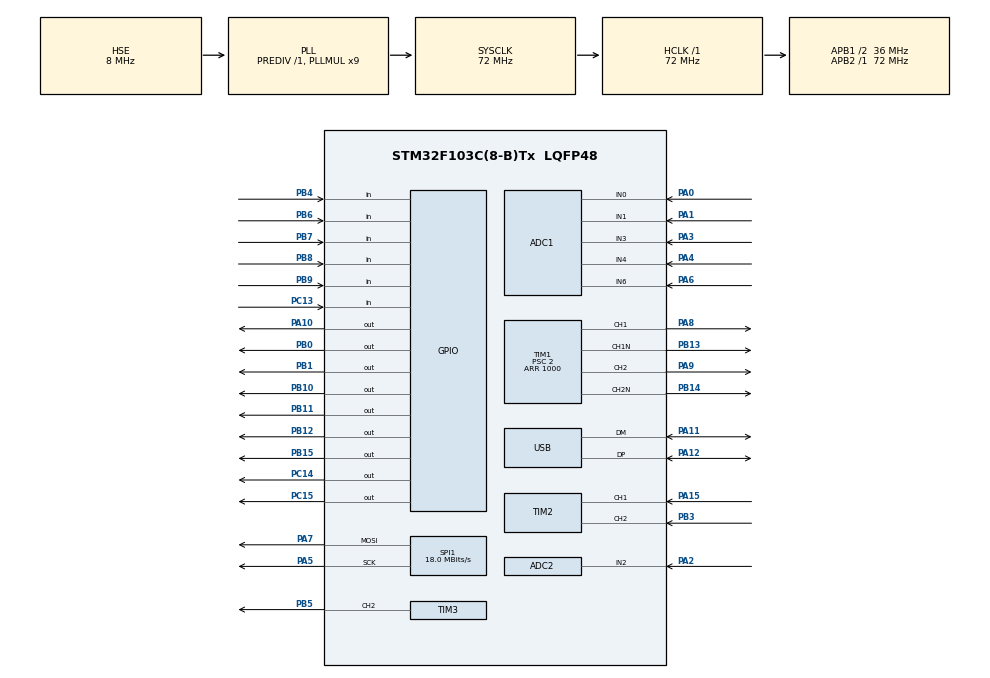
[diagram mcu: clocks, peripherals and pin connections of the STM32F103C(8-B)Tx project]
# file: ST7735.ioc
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ADC1.Channel-0\#ChannelRegularConversion=ADC_CHANNEL_0
ADC1.Channel-1\#ChannelRegularConversion=ADC_CHANNEL_1
ADC1.Channel-2\#ChannelRegularConversion=ADC_CHANNEL_3
ADC1.Channel-3\#ChannelRegularConversion=ADC_CHANNEL_4
ADC1.ContinuousConvMode=ENABLE
ADC1.ExternalTrigConv=ADC_SOFTWARE_START
ADC1.NbrOfConversion=4
ADC1.NbrOfConversionFlag=1
ADC1.Rank-0\#ChannelRegularConversion=1
ADC1.Rank-1\#ChannelRegularConversion=2
ADC1.Rank-2\#ChannelRegularConversion=3
ADC1.Rank-3\#ChannelRegularConversion=4
ADC1.SamplingTime-0\#ChannelRegularConversion=ADC_SAMPLETIME_71CYCLES_5
ADC1.SamplingTime-1\#ChannelRegularConversion=ADC_SAMPLETIME_71CYCLES_5
ADC1.SamplingTime-2\#ChannelRegularConversion=ADC_SAMPLETIME_71CYCLES_5
ADC1.SamplingTime-3\#ChannelRegularConversion=ADC_SAMPLETIME_71CYCLES_5
ADC1.master=1
ADC2.Channel-0\#ChannelRegularConversion=ADC_CHANNEL_2
ADC2.ContinuousConvMode=DISABLE
ADC2.ExternalTrigConv=ADC_SOFTWARE_START
ADC2.NbrOfConversion=1
ADC2.NbrOfConversionFlag=1
ADC2.Rank-0\#ChannelRegularConversion=1
ADC2.SamplingTime-0\#ChannelRegularConversion=ADC_SAMPLETIME_239CYCLES_5
Dma.ADC1.1.Direction=DMA_PERIPH_TO_MEMORY
Dma.ADC1.1.Instance=DMA1_Channel1
Dma.ADC1.1.MemDataAlignment=DMA_MDATAALIGN_HALFWORD
Dma.ADC1.1.MemInc=DMA_MINC_ENABLE
Dma.ADC1.1.Mode=DMA_CIRCULAR
Dma.ADC1.1.PeriphDataAlignment=DMA_PDATAALIGN_HALFWORD
Dma.ADC1.1.PeriphInc=DMA_PINC_DISABLE
Dma.ADC1.1.Priority=DMA_PRIORITY_LOW
Dma.Request0=SPI1_TX
Dma.Request1=ADC1
Dma.SPI1_TX.0.Direction=DMA_MEMORY_TO_PERIPH
Dma.SPI1_TX.0.Instance=DMA1_Channel3
Dma.SPI1_TX.0.MemDataAlignment=DMA_MDATAALIGN_HALFWORD
Dma.SPI1_TX.0.MemInc=DMA_MINC_ENABLE
Dma.SPI1_TX.0.Mode=DMA_NORMAL
Dma.SPI1_TX.0.PeriphDataAlignment=DMA_PDATAALIGN_HALFWORD
Dma.SPI1_TX.0.PeriphInc=DMA_PINC_DISABLE
Dma.SPI1_TX.0.Priority=DMA_PRIORITY_LOW
Mcu.Family=STM32F1
Mcu.Name=STM32F103C(8-B)Tx
Mcu.Package=LQFP48
NVIC.ADC1_2_IRQn=true\:0\:0\:false\:false\:true\:true\:true\:true
NVIC.DMA1_Channel1_IRQn=true\:0\:0\:false\:false\:true\:false\:true\:true
NVIC.DMA1_Channel3_IRQn=true\:0\:0\:false\:false\:true\:false\:true\:true
NVIC.PriorityGroup=NVIC_PRIORITYGROUP_4
NVIC.TIM3_IRQn=true\:0\:0\:false\:false\:true\:true\:true\:true
NVIC.TIM4_IRQn=true\:0\:0\:false\:false\:true\:true\:true\:true
NVIC.USB_LP_CAN1_RX0_IRQn=true\:0\:0\:false\:false\:true\:false\:true\:true
PA0-WKUP.Signal=ADCx_IN0
PA1.Signal=ADCx_IN1
PA10.Signal=GPIO_Output
PA11.Mode=Device
PA11.Signal=USB_DM
PA12.Mode=Device
PA12.Signal=USB_DP
PA13.Mode=Serial_Wire
PA13.Signal=SYS_JTMS-SWDIO
PA14.Mode=Serial_Wire
PA14.Signal=SYS_JTCK-SWCLK
PA15.Signal=S_TIM2_CH1_ETR
PA2.Signal=ADCx_IN2
PA3.Signal=ADCx_IN3
PA4.Signal=ADCx_IN4
PA5.Mode=TX_Only_Simplex_Unidirect_Master
PA5.Signal=SPI1_SCK
PA6.Signal=ADCx_IN6
PA7.Mode=TX_Only_Simplex_Unidirect_Master
PA7.Signal=SPI1_MOSI
PA8.Signal=S_TIM1_CH1
PA9.Signal=S_TIM1_CH2
PB0.Signal=GPIO_Output
PB1.Signal=GPIO_Output
PB10.Signal=GPIO_Output
PB11.Signal=GPIO_Output
PB12.Signal=GPIO_Output
PB13.Mode=PWM Generation1 CH1 CH1N
PB13.Signal=TIM1_CH1N
PB14.Mode=PWM Generation2 CH2 CH2N
PB14.Signal=TIM1_CH2N
PB15.Signal=GPIO_Output
PB3.Signal=S_TIM2_CH2
PB4.GPIO_PuPd=GPIO_PULLUP
PB4.Signal=GPIO_Input
PB5.Signal=S_TIM3_CH2
PB6.GPIO_PuPd=GPIO_PULLUP
PB6.Signal=GPIO_Input
PB7.GPIO_PuPd=GPIO_PULLUP
PB7.Signal=GPIO_Input
PB8.GPIO_PuPd=GPIO_PULLUP
PB8.Signal=GPIO_Input
PB9.GPIO_PuPd=GPIO_PULLUP
PB9.Signal=GPIO_Input
PC13-TAMPER-RTC.Signal=GPIO_Input
PC14-OSC32_IN.Signal=GPIO_Output
PC15-OSC32_OUT.Signal=GPIO_Output
PD0-OSC_IN.Mode=HSE-External-Oscillator
PD0-OSC_IN.Signal=RCC_OSC_IN
PD1-OSC_OUT.Mode=HSE-External-Oscillator
PD1-OSC_OUT.Signal=RCC_OSC_OUT
ProjectManager.HeapSize=0x200
ProjectManager.StackSize=0x400
ProjectManager.TargetToolchain=MDK-ARM V5.32
RCC.ADCPresc=RCC_ADCPCLK2_DIV6
RCC.AHBFreq_Value=72000000
RCC.APB1CLKDivider=RCC_HCLK_DIV2
RCC.APB1Freq_Value=36000000
RCC.APB1TimFreq_Value=72000000
RCC.APB2Freq_Value=72000000
RCC.APB2TimFreq_Value=72000000
RCC.HCLKFreq_Value=72000000
RCC.PLLMUL=RCC_PLL_MUL9
RCC.PLLSourceVirtual=RCC_PLLSOURCE_HSE
RCC.SYSCLKFreq_VALUE=72000000
RCC.SYSCLKSource=RCC_SYSCLKSOURCE_PLLCLK
RCC.USBFreq_Value=48000000
RCC.USBPrescaler=RCC_USBCLKSOURCE_PLL_DIV1_5
SH.ADCx_IN0.0=ADC1_IN0,IN0
SH.ADCx_IN1.0=ADC1_IN1,IN1
SH.ADCx_IN2.0=ADC2_IN2,IN2
SH.ADCx_IN3.0=ADC1_IN3,IN3
SH.ADCx_IN4.0=ADC1_IN4,IN4
SH.ADCx_IN6.0=ADC1_IN6,IN6
SH.S_TIM1_CH1.0=TIM1_CH1,PWM Generation1 CH1 CH1N
SH.S_TIM1_CH2.0=TIM1_CH2,PWM Generation2 CH2 CH2N
SH.S_TIM2_CH1_ETR.0=TIM2_CH1,Encoder_Interface
SH.S_TIM2_CH2.0=TIM2_CH2,Encoder_Interface
SH.S_TIM3_CH2.0=TIM3_CH2,PWM Generation2 CH2
SPI1.BaudRatePrescaler=SPI_BAUDRATEPRESCALER_4
SPI1.CalculateBaudRate=18.0 MBits/s
SPI1.DataSize=SPI_DATASIZE_8BIT
SPI1.Direction=SPI_DIRECTION_2LINES
SPI1.Mode=SPI_MODE_MASTER
SPI1.VirtualType=VM_MASTER
TIM1.Channel-PWM\ Generation1\ CH1\ CH1N=TIM_CHANNEL_1
TIM1.Channel-PWM\ Generation2\ CH2\ CH2N=TIM_CHANNEL_2
TIM1.DeadTime=50
TIM1.OCNPolarity_2=TIM_OCNPOLARITY_LOW
TIM1.OCPolarity_2=TIM_OCPOLARITY_LOW
TIM1.Period=1000
TIM1.Prescaler=2
TIM1.TIM_MasterOutputTrigger=TIM_TRGO_OC3REF
TIM2.EncoderMode=TIM_ENCODERMODE_TI12
TIM3.AutoReloadPreload=TIM_AUTORELOAD_PRELOAD_ENABLE
TIM3.Channel-PWM\ Generation2\ CH2=TIM_CHANNEL_2
TIM3.OCPolarity_2=TIM_OCPOLARITY_LOW
TIM3.Period=1000
TIM3.Prescaler=10
TIM3.TIM_MasterOutputTrigger=TIM_TRGO_UPDATE
TIM4.Channel-PWM\ Generation4\ No\ Output=TIM_CHANNEL_4
TIM4.Period=1000
TIM4.Prescaler=10
TIM4.TIM_MasterOutputTrigger=TIM_TRGO_OC4REF
USB_DEVICE.APP_RX_DATA_SIZE=64
USB_DEVICE.APP_TX_DATA_SIZE=64
USB_DEVICE.CLASS_NAME_FS=CDC
USB_DEVICE.MANUFACTURER_STRING=Dung_Device
USB_DEVICE.VirtualMode=Cdc
USB_DEVICE.VirtualModeFS=Cdc_FS
VP_TIM1_VS_ClockSourceINT.Mode=Internal
VP_TIM3_VS_ClockSourceINT.Mode=Internal
VP_TIM4_VS_no_output4.Mode=PWM Generation4 No Output
VP_USB_DEVICE_VS_USB_DEVICE_CDC_FS.Mode=CDC_FS
board=custom

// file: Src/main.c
/* USER CODE BEGIN Header */
/**
  ******************************************************************************
  * @file           : main.c
  * @brief          : Main program body
  ******************************************************************************
  * @attention
  *
  * <h2><center>&copy; Copyright (c) 2020 STMicroelectronics.
  * All rights reserved.</center></h2>
  *
  * This software component is licensed by ST under BSD 3-Clause license,
  * the "License"; You may not use this file except in compliance with the
  * License. You may obtain a copy of the License at:
  *                        opensource.org/licenses/BSD-3-Clause
  *
  ******************************************************************************
  */
/* USER CODE END Header */
#include "main.h"
#include "usb_device.h"

/* USER CODE BEGIN Includes */
#include <string.h>
#include "ST7735_SPI.h"
#include "fonts.h"
#include <stdio.h>
#include <math.h>
#include "UI.h"
#include "UI_Solider.h"
/* USER CODE END Includes */

ADC_HandleTypeDef hadc1;
ADC_HandleTypeDef hadc2;
DMA_HandleTypeDef hdma_adc1;

SPI_HandleTypeDef hspi1;
DMA_HandleTypeDef hdma_spi1_tx;

TIM_HandleTypeDef htim1;
TIM_HandleTypeDef htim2;
TIM_HandleTypeDef htim3;
TIM_HandleTypeDef htim4;

void SystemClock_Config(void);
static void MX_GPIO_Init(void);
static void MX_DMA_Init(void);
static void MX_SPI1_Init(void);
static void MX_ADC1_Init(void);
static void MX_ADC2_Init(void);
static void MX_TIM1_Init(void);
static void MX_TIM2_Init(void);
static void MX_TIM3_Init(void);
static void MX_TIM4_Init(void);

/* USER CODE BEGIN 0 */
#define ADC_MAX             4095.0f
#define VREF                3.3f

#define VIN_DIV_GAIN        11.0f
#define VOUT_DIV_GAIN       11.0f

#define NTC_R_PULLUP        10000.0f
#define NTC_R0              50000.0f
#define NTC_BETA            3950.0f
#define NTC_T0_K            298.15f

#define SET_V_MIN           2.0f
#define SET_V_MAX           36.0f
#define SET_V_STEP          0.1f

#define ENC_COUNT_PER_STEP  4

#define POWERSTAGE_DUTY_MIN       0.1f
#define POWERSTAGE_DUTY_MAX       0.9f
#define POWERSTAGE_RATIO_MIN    0.1f
#define POWERSTAGE_RATIO_MAX    0.9f

#define CURRENT_MAX 	10.0f		// AMPE
#define TEMP_MAX 			80.0f   //*C
#define VSET_MIN            1.0f
#define VSET_MAX            30.0f
#define VSET_STEP           0.1f

#define ISET_MIN            0.1f
#define ISET_MAX            10.0f
#define ISET_STEP           0.1f

#define CTRL_TS              0.001f

#define VIN_MIN_PROTECT      2.0f
#define TEMP_MAX_PROTECT     80.0f

#define RATIO_MIN            POWERSTAGE_DUTY_MIN
#define RATIO_MAX            POWERSTAGE_DUTY_MAX

#define CV_KP                0.015f
#define CV_KI                0.8f

#define CC_KP                0.025f
#define CC_KI                1.2f

#define CV_I_MIN            -0.30f
#define CV_I_MAX             0.30f

#define CC_I_MIN            -0.30f
#define CC_I_MAX             0.30f

#define SOFTSTART_RATE_VS    6.0f
#define I_HARD_MARGIN        1.0f

#define I_HARD_LIMIT_A              8.5f
#define POWER_START_BLANK_MS        200U

/* Input-voltage droop limiter. Vin may be 12 V, 15 V, 20 V, etc. */
#define VIN_FILTER_ALPHA            0.20f
#define VIN_REF_UPDATE_ALPHA        0.05f
#define VIN_DROOP_ENTER_RATIO       0.90f
#define VIN_DROOP_EXIT_RATIO        0.93f
#define VIN_LIMIT_DOWN_RATE_AS      100.0f
#define VIN_LIMIT_UP_RATE_AS        5.0f
#define VIN_LIMIT_MIN_CURRENT       0.20f
#define VIN_REF_LIGHT_CURRENT       0.30f

static float vin_filtered = 0.0f;
static float vin_reference = 0.0f;
static float input_limited_iset = 0.0f;
static uint8_t vin_filter_init = 0U;
static uint8_t input_limit_active = 0U;

static uint8_t power_prev_enable = 0;
static uint32_t power_start_tick = 0;
static float solider_current_hold = 0.0f;
static float cv_i = 0.0f;
static float cc_i = 0.0f;
extern UI_MainField_t main_field;
static float vref_soft = 0.0f;
static float ratio_out = 0.5f;
typedef enum
{
    PS_MODE_CV = 0,
    PS_MODE_CC,
    PS_MODE_CVCC
} PowerMode_t;

typedef enum
{
    UI_FIELD_VSET = 0,
    UI_FIELD_ISET,
    UI_FIELD_MODE,
    UI_FIELD_OUT,
    UI_FIELD_COUNT
} UI_Field_t;

typedef struct
{
    float kp;
    float ki;

    float integral;

    float out_min;
    float out_max;

    float output;
} PI_Controller_t;

PI_Controller_t cv_pi =
{
    .kp = CV_KP,
    .ki = CV_KI,

    .integral = 0.0f,

    .out_min = POWERSTAGE_RATIO_MIN,
    .out_max = POWERSTAGE_RATIO_MAX,

    .output = 0.5f       // b?t d?u t?i Vin = Vout
};
BBUI_Data_t PowerStage =
{
    .vin = 0.0f,
    .vout = 0.0f,
    .current = 0.0f,
    .temp = 0.0f,

    .vset = 12.0f,
    .iset = 2.0f,

    .enable = 0,
    .state = BBUI_STATE_OFF,

    .batt_cells = 3,
    .active_preset = 0,
    .mqtt_enable = 0,
		.max_input_power = 200.0f,
    .start_mode = BB_START_SOFT,
    .preset =
    {
        {12.0f, 5.0f},
        {16.8f, 3.0f},
        {20.0f, 2.5f}
    }
};

static UI_Field_t ui_field = UI_FIELD_VSET;
static volatile uint8_t ui_full_redraw = 1;
static volatile uint8_t ui_need_update = 1;

static volatile uint16_t adc_current_raw = 0;
volatile uint8_t adc_current_ready = 0;

static int16_t enc_last = 0;
static int32_t enc_acc = 0;

static uint32_t t_adc = 0;
static uint32_t t_lcd = 0;
static uint8_t PowerStage_pwm_running = 0;
#define ADC1_DMA_LEN 4

uint16_t adc1_dma_buf[ADC1_DMA_LEN];
uint8_t adc1_dma_ready = 0;
static uint16_t timeIntervalReadSolider = 0;
int loopReadSolider_temp = 10;
static uint16_t solider_temp_sum = 0;
static void fmt_float(char *buf, float value, uint8_t dec, const char *unit)
{
    int32_t scale = 1;

    for(uint8_t i = 0; i < dec; i++)
        scale *= 10;

    int32_t v = (int32_t)(value * scale + (value >= 0 ? 0.5f : -0.5f));

    if(v < 0)
    {
        v = -v;
        if(dec == 1)
            sprintf(buf, "-%ld.%01ld%s", v / scale, v % scale, unit);
        else
            sprintf(buf, "-%ld.%02ld%s", v / scale, v % scale, unit);
    }
    else
    {
        if(dec == 1)
            sprintf(buf, "%ld.%01ld%s", v / scale, v % scale, unit);
        else
            sprintf(buf, "%ld.%02ld%s", v / scale, v % scale, unit);
    }
}
static uint16_t ADC_Read_Channel(ADC_HandleTypeDef *hadc, uint32_t channel)
{
    ADC_ChannelConfTypeDef sConfig = {0};

    sConfig.Channel = channel;
    sConfig.Rank = ADC_REGULAR_RANK_1;
    sConfig.SamplingTime = ADC_SAMPLETIME_239CYCLES_5;

    HAL_ADC_ConfigChannel(hadc, &sConfig);

    HAL_ADC_Start(hadc);
    HAL_ADC_PollForConversion(hadc, 10);
		uint32_t adc_value = 0;
		adc_value = HAL_ADC_GetValue(hadc);
    HAL_ADC_Stop(hadc);

    return (uint16_t)adc_value;
}

static float ADC_To_Voltage(uint16_t adc)
{
    return ((float)adc * VREF) / ADC_MAX;
}

static float Read_Vout(uint16_t adc_vout)
{
    return ADC_To_Voltage(adc_vout) * VOUT_DIV_GAIN;
}

static float Read_Vin(uint16_t adc_vin)
{
    return ADC_To_Voltage(adc_vin) * VIN_DIV_GAIN;
}
static void PowerStage_UpdateIdleVinReference(void)
{
    /* Learn source no-load voltage only while the converter is disabled. */
    if((PowerStage.enable == 0U) &&
       (PowerStage.vin > VIN_MIN_PROTECT))
    {
        if(vin_reference < VIN_MIN_PROTECT)
        {
            vin_reference = PowerStage.vin;
        }
        else
        {
            vin_reference += VIN_REF_UPDATE_ALPHA *
                             (PowerStage.vin - vin_reference);
        }
    }
}

static void PowerStage_InputDroopRuntimeReset(void)
{
    /* Keep vin_reference: it was learned while output was OFF. */
    vin_filtered = PowerStage.vin;
    input_limited_iset = PowerStage.iset;
    vin_filter_init = 1U;
    input_limit_active = 0U;
}

static float PowerStage_GetInputDroopCurrentLimit(void)
{
    if(vin_filter_init == 0U)
    {
        PowerStage_InputDroopRuntimeReset();
    }

    vin_filtered += VIN_FILTER_ALPHA *
                    (PowerStage.vin - vin_filtered);

    /* Fallback if output was enabled before a valid idle reference existed. */
    if(vin_reference < VIN_MIN_PROTECT)
    {
        vin_reference = PowerStage.vin;
    }

    float vin_enter = vin_reference * VIN_DROOP_ENTER_RATIO;
    float vin_exit  = vin_reference * VIN_DROOP_EXIT_RATIO;

    if(input_limit_active == 0U)
    {
        if(vin_filtered <= vin_enter)
        {
            input_limit_active = 1U;
        }
    }
    else
    {
        if(vin_filtered >= vin_exit)
        {
            input_limit_active = 0U;
        }
    }

    if(input_limited_iset > PowerStage.iset)
    {
        input_limited_iset = PowerStage.iset;
    }

    if(input_limit_active != 0U)
    {
        input_limited_iset -= VIN_LIMIT_DOWN_RATE_AS * CTRL_TS;
    }
    else
    {
        input_limited_iset += VIN_LIMIT_UP_RATE_AS * CTRL_TS;
    }

    if(input_limited_iset < VIN_LIMIT_MIN_CURRENT)
        input_limited_iset = VIN_LIMIT_MIN_CURRENT;

    if(input_limited_iset > PowerStage.iset)
        input_limited_iset = PowerStage.iset;

    return input_limited_iset;
}
uint16_t raw = 0;
static float Read_NTC_Temp(void)
{
    raw = ADC_Read_Channel(&hadc2, ADC_CHANNEL_2);

    float v = raw * 3.3f / 4095.0f;

    if(v < 0.01f) v = 0.01f;
    if(v > 3.29f) v = 3.29f;

    float r_ntc = 10000.0f * v / (3.3f - v);

    float temp_k = 1.0f /
    (
        (1.0f / 298.15f) +
        (logf(r_ntc / 10000.0f) / 3950.0f)
    );
		return 20.4f;
    return temp_k - 273.15f;
}
#define CURRENT_GAIN        200.0f // 1.884
#define SHUNT_R             0.002f
uint16_t adc_offset = 0;
static float Read_Current(uint16_t adc_current)
{
    float v_adc = (adc_current) * 3.3f / 4095.0f;
    float current = (v_adc) / CURRENT_GAIN / SHUNT_R;
    if(current < 0.0f)
        current = 0.0f;
    return current;
}
static float Read_Current_linear(uint16_t adc)
{
    float current = 0.00720f * adc - 2.1007f;

    if(current < 0.0f)
        current = 0.0f;

    return current;
}

static uint32_t adc_sum[ADC1_DMA_LEN] = {0};
static uint16_t adc_avg[ADC1_DMA_LEN] = {0};
static uint16_t adc_sample_cnt = 0;
int adc_calib_offset = 0;
static uint16_t tip_temp_count = 0;

void HAL_GPIO_EXTI_Callback(uint16_t GPIO_Pin)
{
    static uint32_t last_press = 0;
//    if(GPIO_Pin == GPIO_PIN_4)
//    {

//        BBUI_ButtonIRQ();
//    }
}
static void PowerStage_Start(void)
{
//    if(PowerStage_pwm_running)
//        return;

    HAL_TIM_PWM_Start(&htim1, TIM_CHANNEL_1);
    HAL_TIMEx_PWMN_Start(&htim1, TIM_CHANNEL_1);
		HAL_TIM_PWM_Start(&htim1, TIM_CHANNEL_2);
    HAL_TIMEx_PWMN_Start(&htim1, TIM_CHANNEL_2);
    PowerStage_pwm_running = 1;
}

static void PowerStage_Stop(void)
{
//    if(!PowerStage_pwm_running)
//        return;
		TIM1 -> CCR1 = 0;
		TIM1 -> CCR2 = 0;
    HAL_TIM_PWM_Stop(&htim1, TIM_CHANNEL_1);
    HAL_TIMEx_PWMN_Stop(&htim1, TIM_CHANNEL_1);
		HAL_TIM_PWM_Stop(&htim1, TIM_CHANNEL_2);
    HAL_TIMEx_PWMN_Stop(&htim1, TIM_CHANNEL_2);
    PowerStage_pwm_running = 0;
}
uint16_t duty_buck = 0, duty_boost = 0;
static void PowerStage_SetRatio(float ratio)
{
    if(ratio < POWERSTAGE_DUTY_MIN)
        ratio = POWERSTAGE_DUTY_MIN;

    if(ratio > POWERSTAGE_DUTY_MAX)
        ratio = POWERSTAGE_DUTY_MAX;

    uint32_t ccr = (uint32_t)(ratio * (float)(999));
		duty_buck = ccr;
		duty_boost = 999 - ccr;
		TIM1 -> CCR1 = duty_buck;
		TIM1 -> CCR2 = duty_boost;

}
float duty = 0;
static void PowerStage_Control_OpenLoop(void)
{
    if(!PowerStage.enable)
    {
				PowerStage_SetRatio(0);
        PowerStage_Stop();
        return;
    }

    if(PowerStage.vin < 2.0f)
    {
        PowerStage_Stop();
        PowerStage.enable = 0;
        return;
    }

    if(PowerStage.current > 3.0f || PowerStage.temp > 80.0f)
    {
        PowerStage_Stop();
        PowerStage.enable = 0;
        return;
    }
		PowerStage_Start();
    duty = PowerStage.vset / PowerStage.vin;

    PowerStage_SetRatio(PowerStage.vset / 10.0f);
}
static void PowerStage_Control_CloseLoop(void)
{
    if(!PowerStage.enable)
    {
        cv_pi.integral = 0.0f;
        cv_pi.output = 0.5f;

        PowerStage_SetRatio(0.5f);
        PowerStage_Stop();
        return;
    }

    if(PowerStage.vin < 2.0f)
    {
        PowerStage_Stop();
        PowerStage.enable = 0;
        return;
    }

    if(PowerStage.current > CURRENT_MAX || PowerStage.temp > TEMP_MAX)
    {
        PowerStage_Stop();
        PowerStage.enable = 0;
        return;
    }

    PowerStage_Start();

    //---------------------------------------
    // Voltage PI
    //---------------------------------------

    float error = PowerStage.vset - PowerStage.vout;

    cv_pi.integral += cv_pi.ki * error * CTRL_TS;

    float output = cv_pi.kp * error + cv_pi.integral;

    //---------------------------------------
    // Anti-windup
    //---------------------------------------

    if(output > cv_pi.out_max)
    {
        output = cv_pi.out_max;

        if(error > 0)
            cv_pi.integral -= cv_pi.ki * error * CTRL_TS;
    }

    if(output < cv_pi.out_min)
    {
        output = cv_pi.out_min;

        if(error < 0)
            cv_pi.integral -= cv_pi.ki * error * CTRL_TS;
    }

    cv_pi.output = output;

    PowerStage_SetRatio(output);
}

static float clampf(float x, float min, float max)
{
    if(x < min) return min;
    if(x > max) return max;
    return x;
}
static float PowerStage_FeedForward_Ratio(float vin, float vref)
{
    if(vin < 0.5f)
        return 0.5f;

    if(vref < 0.5f)
        return RATIO_MIN;

    float ratio = vref / (vin + vref);

    return clampf(ratio, RATIO_MIN, RATIO_MAX);
}
static void PowerStage_StartReference_1kHz(void)
{
    if(PowerStage.enable == 0)
    {
        vref_soft = 0.0f;
        return;
    }

    if(PowerStage.start_mode == BB_START_HARD)
    {
        vref_soft = PowerStage.vset;
        return;
    }

    /*
     * Soft-start.
     */
    if(vref_soft < PowerStage.vset)
    {
        vref_soft += SOFTSTART_RATE_VS * CTRL_TS;

        if(vref_soft > PowerStage.vset)
            vref_soft = PowerStage.vset;
    }
    else
    {
        vref_soft = PowerStage.vset;
    }
}
static void PowerStage_CVCC_Reset(void)
{
    cv_i = 0.0f;
    cc_i = 0.0f;

    vref_soft = 0.0f;
    ratio_out = 0.5f;
}
void PowerStage_CloseLoop_CVCC_1kHz(void)
{
    uint32_t now = HAL_GetTick();

    /*
     * =====================================================
     * PH?T HI?N C?NH B?T NGU?N
     * =====================================================
     */
    if((PowerStage.enable != 0U) &&
			 (power_prev_enable == 0U))
		{
				power_start_tick = now;

				cv_i = 0.0f;
				cc_i = 0.0f;
				ratio_out = RATIO_MIN;
				vref_soft = 0.0f;

                PowerStage_InputDroopRuntimeReset();

				PowerStage_Start();
		}

    power_prev_enable = PowerStage.enable;

    /* Fast droop immediate check: use raw DMA ADC sample (no averaging)
       to detect large input sag from inrush and trip immediately. */
    {
      uint16_t vin_raw_fast = adc1_dma_buf[3];
      float vin_fast = Read_Vin(vin_raw_fast);
      if(vin_reference > VIN_MIN_PROTECT)
      {
        float vin_fast_enter = vin_reference * 0.88f;
        if(vin_fast <= vin_fast_enter)
        {
          /* Immediate fault: stop PWM and disable output */
          PowerStage_CVCC_Reset();

          PowerStage.enable = 0U;
          PowerStage.state = BBUI_STATE_FAULT;

          PowerStage_Stop();

          power_prev_enable = 0U;

          return;
        }
      }
    }

    /*
     * =====================================================
     * OUTPUT OFF
     * =====================================================
     */
    if(PowerStage.enable == 0U)
    {
        PowerStage_CVCC_Reset();

        PowerStage.state = BBUI_STATE_OFF;

        PowerStage_Stop();

        return;
    }

    /*
     * =====================================================
     * B?O V? ?I?N ?P V?O
     * =====================================================
     */
    if(PowerStage.vin < VIN_MIN_PROTECT)
    {
        PowerStage_CVCC_Reset();

        PowerStage.enable = 0U;
        PowerStage.state = BBUI_STATE_FAULT;

        PowerStage_Stop();

        power_prev_enable = 0U;

        return;
    }

    /*
     * =====================================================
     * B?O V? NHI?T ??
     * =====================================================
     */
    if(PowerStage.temp > TEMP_MAX_PROTECT)
    {
        PowerStage_CVCC_Reset();

        PowerStage.enable = 0U;
        PowerStage.state = BBUI_STATE_FAULT;

        PowerStage_Stop();

        power_prev_enable = 0U;

        return;
    }

    /*
     * =====================================================
     * B?O V? QU? D?NG C?NG
     * =====================================================
     *
     * B? qua trong 200 ms d?u d? tr?nh d?ng do cu,
     * spike chuy?n relay ho?c xung kh?i d?ng g?y false fault.
     *
     * Gi?i h?n c?ng su?t kh?ng du?c d?ng l?m ngu?ng FAULT.
     */
    if((uint32_t)(now - power_start_tick) >=
       POWER_START_BLANK_MS)
    {
        if(PowerStage.current > I_HARD_LIMIT_A)
        {
            PowerStage_CVCC_Reset();

            PowerStage.enable = 0U;
            PowerStage.state = BBUI_STATE_FAULT;

            PowerStage_Stop();

            power_prev_enable = 0U;

            return;
        }
    }

    /*
     * B?o d?m PWM d? du?c b?t.
     * N?u PowerStage_Start() ch? c?n g?i m?t l?n,
     * c? th? b? d?ng n?y v? d? g?i ? c?nh enable.
     */
    PowerStage_Start();

    /*
     * =====================================================
     * HARD-START / SOFT-START REFERENCE
     * =====================================================
     */
    PowerStage_StartReference_1kHz();

    /*
     * Ph?i t?nh effective_iset sau khi c?p nh?t vref_soft,
     * v? gi?i h?n c?ng su?t c? th? ph? thu?c vref_soft.
     */
    float effective_iset = PowerStage_GetInputDroopCurrentLimit();

    /*
     * =====================================================
     * FEED-FORWARD
     * =====================================================
     */
    float ratio_ff =
        PowerStage_FeedForward_Ratio(PowerStage.vin,
                                     vref_soft);

    /*
     * =====================================================
     * SAI S? CV V? CC
     * =====================================================
     */
    float err_v =
        vref_soft - PowerStage.vout;

    float err_i =
        effective_iset - PowerStage.current;

    /*
     * =====================================================
     * T?CH PH?N T?M TH?I
     * =====================================================
     */
    float cv_i_new =
        cv_i + CV_KI * err_v * CTRL_TS;

    float cc_i_new =
        cc_i + CC_KI * err_i * CTRL_TS;

    cv_i_new =
        clampf(cv_i_new, CV_I_MIN, CV_I_MAX);

    cc_i_new =
        clampf(cc_i_new, CC_I_MIN, CC_I_MAX);

    /*
     * =====================================================
     * ??U RA PI CHUA B?O H?A
     * =====================================================
     */
    float ratio_cv_unsat =
        ratio_ff +
        CV_KP * err_v +
        cv_i_new;

    float ratio_cc_unsat =
        ratio_ff +
        CC_KP * err_i +
        cc_i_new;

    /*
     * =====================================================
     * ANTI-WINDUP CV
     * =====================================================
     */
    if(!((ratio_cv_unsat > RATIO_MAX &&
          err_v > 0.0f) ||
         (ratio_cv_unsat < RATIO_MIN &&
          err_v < 0.0f)))
    {
        cv_i = cv_i_new;
    }

    /*
     * =====================================================
     * ANTI-WINDUP CC
     * =====================================================
     */
    if(!((ratio_cc_unsat > RATIO_MAX &&
          err_i > 0.0f) ||
         (ratio_cc_unsat < RATIO_MIN &&
          err_i < 0.0f)))
    {
        cc_i = cc_i_new;
    }

    /*
     * T?nh l?i output b?ng gi? tr? t?ch ph?n d? du?c ch?p nh?n.
     */
    float ratio_cv =
        ratio_ff +
        CV_KP * err_v +
        cv_i;

    float ratio_cc =
        ratio_ff +
        CC_KP * err_i +
        cc_i;

    ratio_cv =
        clampf(ratio_cv, RATIO_MIN, RATIO_MAX);

    ratio_cc =
        clampf(ratio_cc, RATIO_MIN, RATIO_MAX);

    /*
     * =====================================================
     * CH?N V?NG ?I?U KHI?N CH?T HON
     * =====================================================
     *
     * Gi? tr? ratio nh? hon s? h?n ch? c?ng su?t nhi?u hon.
     */
    if(ratio_cc < ratio_cv)
    {
        ratio_out = ratio_cc;
        PowerStage.state = BBUI_STATE_CC;
    }
    else
    {
        ratio_out = ratio_cv;
        PowerStage.state = BBUI_STATE_CV;
    }

    ratio_out =
        clampf(ratio_out, RATIO_MIN, RATIO_MAX);

    PowerStage_SetRatio(ratio_out);
}
void Buck_UI_Init(void)
{
    HAL_ADCEx_Calibration_Start(&hadc1);
    //HAL_ADCEx_Calibration_Start(&hadc2);

    PowerStage_Stop();

    HAL_ADC_Start_DMA(&hadc1, (uint32_t*)adc1_dma_buf, ADC1_DMA_LEN);
		HAL_Delay(700);

    BBUI_Init(&PowerStage, &htim2);

    HAL_TIM_Base_Start_IT(&htim3);
		while(!adc_calib_offset);
}
uint32_t lastTime_readTemp = 0;
void handle_temp(){
		if(HAL_GetTick() -  lastTime_readTemp > 2000)
		{
			lastTime_readTemp = HAL_GetTick();
			float temp_new = Read_NTC_Temp();
			PowerStage.temp = PowerStage.temp * 0.5f + temp_new * 0.5f;
			if(PowerStage.temp >= 40.0f)
			{
				HAL_GPIO_WritePin(GPIOC, GPIO_PIN_15, 1);
			}
			else if(PowerStage.temp < 38.0f)
			{
				HAL_GPIO_WritePin(GPIOC, GPIO_PIN_15, 0);
			}
		}

}
void HAL_TIM_PeriodElapsedCallback(TIM_HandleTypeDef *htim)
{
    if(htim->Instance != TIM3)
        return;

    /* Update measurements first. */
    float vin_new = Read_Vin(adc_avg[3]);
    float vout_new = Read_Vout(adc_avg[0]);
    float current_new = Read_Current(adc_avg[1]);

    PowerStage.vin += 0.8f * (vin_new - PowerStage.vin);
    PowerStage.vout += 0.8f * (vout_new - PowerStage.vout);
    PowerStage.current += 0.8f * (current_new - PowerStage.current);

    /* Learn the actual source voltage while output is off. */
    PowerStage_UpdateIdleVinReference();

    /* CloseLoop handles OFF, protection, CV, CC and Vin-droop limiting. */
    PowerStage_CloseLoop_CVCC_1kHz();
}

volatile uint16_t solider_temp = 0;
#define ADC_AVG_SAMPLES 4
void HAL_ADC_ConvCpltCallback(ADC_HandleTypeDef *hadc)
{
    if(hadc->Instance == ADC1)
    {
        adc_sum[0] += adc1_dma_buf[0];
        adc_sum[1] += adc1_dma_buf[1];
        adc_sum[3] += adc1_dma_buf[3];

        adc_sample_cnt++;

        if(adc_sample_cnt >= ADC_AVG_SAMPLES)
        {
            adc_avg[0] = adc_sum[0] / ADC_AVG_SAMPLES;
            adc_avg[1] = adc_sum[1] / ADC_AVG_SAMPLES;
            adc_avg[3] = adc_sum[3] / ADC_AVG_SAMPLES;

            adc_sum[0] = 0;
            adc_sum[1] = 0;
            adc_sum[3] = 0;

            adc_sample_cnt = 0;
            adc1_dma_ready = 1;
            adc_calib_offset = 1;
        }
    }
    else if(hadc->Instance == ADC2)
    {
				HAL_GPIO_WritePin(GPIOB, GPIO_PIN_11, 1);
        uint16_t tmp1 = HAL_ADC_GetValue(&hadc2);
				uint16_t tmp2 = HAL_ADC_GetValue(&hadc2);
				uint16_t tmp3 = HAL_ADC_GetValue(&hadc2);
				uint16_t tmp4 = HAL_ADC_GetValue(&hadc2);
//				if(tmp < 2000)
					solider_temp = (tmp1 + tmp2 + tmp3 +tmp4) / 4.0f;
        HAL_GPIO_WritePin(GPIOB, GPIO_PIN_11, 0);
    }
}
int sleep = 0;
/* USER CODE END 0 */

int main(void)
{

  /* MCU Configuration--------------------------------------------------------*/

  /* Reset of all peripherals, Initializes the Flash interface and the Systick. */
  HAL_Init();

  /* Configure the system clock */
  SystemClock_Config();

  /* Initialize all configured peripherals */
  MX_GPIO_Init();
  MX_DMA_Init();
  MX_SPI1_Init();
  MX_ADC1_Init();
  MX_ADC2_Init();
  MX_TIM1_Init();
  MX_TIM2_Init();
  MX_TIM3_Init();
  MX_USB_DEVICE_Init();
  MX_TIM4_Init();
  /* USER CODE BEGIN 2 */
	Buck_UI_Init();
	/* Temporary fixed-output mode: start automatically at 10 V / 5 A. */
	PowerStage.vset = 10.0f;
	PowerStage.iset = 5.0f;
	PowerStage.enable = 1U;
	PowerStage_Start();
//	HAL_TIMEx_PWMN_Shtim1tart(&htim1, TIM_CHANNEL_3);
//	TIM1 -> CCR3 = 100;
	HAL_TIM_PWM_Start(&htim3, TIM_CHANNEL_2);
	HAL_GPIO_WritePin(GPIOB,
                  GPIO_PIN_15,
                  GPIO_PIN_SET);
	HAL_GPIO_WritePin(GPIOC,
									GPIO_PIN_14,
									GPIO_PIN_RESET); // BUZZER
	HAL_GPIO_WritePin(GPIOC, GPIO_PIN_15, GPIO_PIN_SET);
  /* USER CODE END 2 */

  /* Infinite loop */
  while (1)
  {

    /* USER CODE BEGIN 3 */
		sleep = HAL_GPIO_ReadPin(GPIOC, GPIO_PIN_13);
		if(UI_Solider_IsActive())
    {
        Solider_PID_Enable(1);
        Solider_PID_Task(600.0f);
			//TIM3 -> CCR2 = 800; // ON
    }
    else
    {
        Solider_PID_Enable(0);
			//TIM3 -> CCR2 = 1000;// OFF
    }

    BBUI_Task();
		handle_temp();
  }
  /* USER CODE END 3 */
}

void SystemClock_Config(void)
{
  RCC_OscInitTypeDef RCC_OscInitStruct = {0};
  RCC_ClkInitTypeDef RCC_ClkInitStruct = {0};
  RCC_PeriphCLKInitTypeDef PeriphClkInit = {0};

  /** Initializes the RCC Oscillators according to the specified parameters
  * in the RCC_OscInitTypeDef structure.
  */
  RCC_OscInitStruct.OscillatorType = RCC_OSCILLATORTYPE_HSE;
  RCC_OscInitStruct.HSEState = RCC_HSE_ON;
  RCC_OscInitStruct.HSEPredivValue = RCC_HSE_PREDIV_DIV1;
  RCC_OscInitStruct.HSIState = RCC_HSI_ON;
  RCC_OscInitStruct.PLL.PLLState = RCC_PLL_ON;
  RCC_OscInitStruct.PLL.PLLSource = RCC_PLLSOURCE_HSE;
  RCC_OscInitStruct.PLL.PLLMUL = RCC_PLL_MUL9;
  if (HAL_RCC_OscConfig(&RCC_OscInitStruct) != HAL_OK)
  {
    Error_Handler();
  }

  /** Initializes the CPU, AHB and APB buses clocks
  */
  RCC_ClkInitStruct.ClockType = RCC_CLOCKTYPE_HCLK|RCC_CLOCKTYPE_SYSCLK
                              |RCC_CLOCKTYPE_PCLK1|RCC_CLOCKTYPE_PCLK2;
  RCC_ClkInitStruct.SYSCLKSource = RCC_SYSCLKSOURCE_PLLCLK;
  RCC_ClkInitStruct.AHBCLKDivider = RCC_SYSCLK_DIV1;
  RCC_ClkInitStruct.APB1CLKDivider = RCC_HCLK_DIV2;
  RCC_ClkInitStruct.APB2CLKDivider = RCC_HCLK_DIV1;

  if (HAL_RCC_ClockConfig(&RCC_ClkInitStruct, FLASH_LATENCY_2) != HAL_OK)
  {
    Error_Handler();
  }
  PeriphClkInit.PeriphClockSelection = RCC_PERIPHCLK_ADC|RCC_PERIPHCLK_USB;
  PeriphClkInit.AdcClockSelection = RCC_ADCPCLK2_DIV6;
  PeriphClkInit.UsbClockSelection = RCC_USBCLKSOURCE_PLL_DIV1_5;
  if (HAL_RCCEx_PeriphCLKConfig(&PeriphClkInit) != HAL_OK)
  {
    Error_Handler();
  }
}

static void MX_ADC1_Init(void)
{

  ADC_ChannelConfTypeDef sConfig = {0};

  /** Common config
  */
  hadc1.Instance = ADC1;
  hadc1.Init.ScanConvMode = ADC_SCAN_ENABLE;
  hadc1.Init.ContinuousConvMode = ENABLE;
  hadc1.Init.DiscontinuousConvMode = DISABLE;
  hadc1.Init.ExternalTrigConv = ADC_SOFTWARE_START;
  hadc1.Init.DataAlign = ADC_DATAALIGN_RIGHT;
  hadc1.Init.NbrOfConversion = 4;
  if (HAL_ADC_Init(&hadc1) != HAL_OK)
  {
    Error_Handler();
  }

  /** Configure Regular Channel
  */
  sConfig.Channel = ADC_CHANNEL_0;
  sConfig.Rank = ADC_REGULAR_RANK_1;
  sConfig.SamplingTime = ADC_SAMPLETIME_71CYCLES_5;
  if (HAL_ADC_ConfigChannel(&hadc1, &sConfig) != HAL_OK)
  {
    Error_Handler();
  }

  /** Configure Regular Channel
  */
  sConfig.Channel = ADC_CHANNEL_1;
  sConfig.Rank = ADC_REGULAR_RANK_2;
  if (HAL_ADC_ConfigChannel(&hadc1, &sConfig) != HAL_OK)
  {
    Error_Handler();
  }

  /** Configure Regular Channel
  */
  sConfig.Channel = ADC_CHANNEL_3;
  sConfig.Rank = ADC_REGULAR_RANK_3;
  if (HAL_ADC_ConfigChannel(&hadc1, &sConfig) != HAL_OK)
  {
    Error_Handler();
  }

  /** Configure Regular Channel
  */
  sConfig.Channel = ADC_CHANNEL_4;
  sConfig.Rank = ADC_REGULAR_RANK_4;
  if (HAL_ADC_ConfigChannel(&hadc1, &sConfig) != HAL_OK)
  {
    Error_Handler();
  }

}

static void MX_ADC2_Init(void)
{

  ADC_ChannelConfTypeDef sConfig = {0};

  /** Common config
  */
  hadc2.Instance = ADC2;
  hadc2.Init.ScanConvMode = ADC_SCAN_DISABLE;
  hadc2.Init.ContinuousConvMode = DISABLE;
  hadc2.Init.DiscontinuousConvMode = DISABLE;
  hadc2.Init.ExternalTrigConv = ADC_SOFTWARE_START;
  hadc2.Init.DataAlign = ADC_DATAALIGN_RIGHT;
  hadc2.Init.NbrOfConversion = 1;
  if (HAL_ADC_Init(&hadc2) != HAL_OK)
  {
    Error_Handler();
  }

  /** Configure Regular Channel
  */
  sConfig.Channel = ADC_CHANNEL_2;
  sConfig.Rank = ADC_REGULAR_RANK_1;
  sConfig.SamplingTime = ADC_SAMPLETIME_239CYCLES_5;
  if (HAL_ADC_ConfigChannel(&hadc2, &sConfig) != HAL_OK)
  {
    Error_Handler();
  }

}

static void MX_SPI1_Init(void)
{

  /* SPI1 parameter configuration*/
  hspi1.Instance = SPI1;
  hspi1.Init.Mode = SPI_MODE_MASTER;
  hspi1.Init.Direction = SPI_DIRECTION_2LINES;
  hspi1.Init.DataSize = SPI_DATASIZE_8BIT;
  hspi1.Init.CLKPolarity = SPI_POLARITY_LOW;
  hspi1.Init.CLKPhase = SPI_PHASE_1EDGE;
  hspi1.Init.NSS = SPI_NSS_SOFT;
  hspi1.Init.BaudRatePrescaler = SPI_BAUDRATEPRESCALER_4;
  hspi1.Init.FirstBit = SPI_FIRSTBIT_MSB;
  hspi1.Init.TIMode = SPI_TIMODE_DISABLE;
  hspi1.Init.CRCCalculation = SPI_CRCCALCULATION_DISABLE;
  hspi1.Init.CRCPolynomial = 10;
  if (HAL_SPI_Init(&hspi1) != HAL_OK)
  {
    Error_Handler();
  }

}

static void MX_TIM1_Init(void)
{

  TIM_ClockConfigTypeDef sClockSourceConfig = {0};
  TIM_MasterConfigTypeDef sMasterConfig = {0};
  TIM_OC_InitTypeDef sConfigOC = {0};
  TIM_BreakDeadTimeConfigTypeDef sBreakDeadTimeConfig = {0};

  htim1.Instance = TIM1;
  htim1.Init.Prescaler = 2;
  htim1.Init.CounterMode = TIM_COUNTERMODE_UP;
  htim1.Init.Period = 1000;
  htim1.Init.ClockDivision = TIM_CLOCKDIVISION_DIV1;
  htim1.Init.RepetitionCounter = 0;
  htim1.Init.AutoReloadPreload = TIM_AUTORELOAD_PRELOAD_DISABLE;
  if (HAL_TIM_Base_Init(&htim1) != HAL_OK)
  {
    Error_Handler();
  }
  sClockSourceConfig.ClockSource = TIM_CLOCKSOURCE_INTERNAL;
  if (HAL_TIM_ConfigClockSource(&htim1, &sClockSourceConfig) != HAL_OK)
  {
    Error_Handler();
  }
  if (HAL_TIM_PWM_Init(&htim1) != HAL_OK)
  {
    Error_Handler();
  }
  sMasterConfig.MasterOutputTrigger = TIM_TRGO_OC3REF;
  sMasterConfig.MasterSlaveMode = TIM_MASTERSLAVEMODE_DISABLE;
  if (HAL_TIMEx_MasterConfigSynchronization(&htim1, &sMasterConfig) != HAL_OK)
  {
    Error_Handler();
  }
  sConfigOC.OCMode = TIM_OCMODE_PWM1;
  sConfigOC.Pulse = 0;
  sConfigOC.OCPolarity = TIM_OCPOLARITY_HIGH;
  sConfigOC.OCNPolarity = TIM_OCNPOLARITY_HIGH;
  sConfigOC.OCFastMode = TIM_OCFAST_DISABLE;
  sConfigOC.OCIdleState = TIM_OCIDLESTATE_RESET;
  sConfigOC.OCNIdleState = TIM_OCNIDLESTATE_RESET;
  if (HAL_TIM_PWM_ConfigChannel(&htim1, &sConfigOC, TIM_CHANNEL_1) != HAL_OK)
  {
    Error_Handler();
  }
  sConfigOC.OCPolarity = TIM_OCPOLARITY_LOW;
  sConfigOC.OCNPolarity = TIM_OCNPOLARITY_LOW;
  if (HAL_TIM_PWM_ConfigChannel(&htim1, &sConfigOC, TIM_CHANNEL_2) != HAL_OK)
  {
    Error_Handler();
  }
  sBreakDeadTimeConfig.OffStateRunMode = TIM_OSSR_DISABLE;
  sBreakDeadTimeConfig.OffStateIDLEMode = TIM_OSSI_DISABLE;
  sBreakDeadTimeConfig.LockLevel = TIM_LOCKLEVEL_OFF;
  sBreakDeadTimeConfig.DeadTime = 50;
  sBreakDeadTimeConfig.BreakState = TIM_BREAK_DISABLE;
  sBreakDeadTimeConfig.BreakPolarity = TIM_BREAKPOLARITY_HIGH;
  sBreakDeadTimeConfig.AutomaticOutput = TIM_AUTOMATICOUTPUT_DISABLE;
  if (HAL_TIMEx_ConfigBreakDeadTime(&htim1, &sBreakDeadTimeConfig) != HAL_OK)
  {
    Error_Handler();
  }
  HAL_TIM_MspPostInit(&htim1);

}

static void MX_TIM2_Init(void)
{

  TIM_Encoder_InitTypeDef sConfig = {0};
  TIM_MasterConfigTypeDef sMasterConfig = {0};

  htim2.Instance = TIM2;
  htim2.Init.Prescaler = 0;
  htim2.Init.CounterMode = TIM_COUNTERMODE_UP;
  htim2.Init.Period = 65535;
  htim2.Init.ClockDivision = TIM_CLOCKDIVISION_DIV1;
  htim2.Init.AutoReloadPreload = TIM_AUTORELOAD_PRELOAD_DISABLE;
  sConfig.EncoderMode = TIM_ENCODERMODE_TI12;
  sConfig.IC1Polarity = TIM_ICPOLARITY_RISING;
  sConfig.IC1Selection = TIM_ICSELECTION_DIRECTTI;
  sConfig.IC1Prescaler = TIM_ICPSC_DIV1;
  sConfig.IC1Filter = 0;
  sConfig.IC2Polarity = TIM_ICPOLARITY_RISING;
  sConfig.IC2Selection = TIM_ICSELECTION_DIRECTTI;
  sConfig.IC2Prescaler = TIM_ICPSC_DIV1;
  sConfig.IC2Filter = 0;
  if (HAL_TIM_Encoder_Init(&htim2, &sConfig) != HAL_OK)
  {
    Error_Handler();
  }
  sMasterConfig.MasterOutputTrigger = TIM_TRGO_RESET;
  sMasterConfig.MasterSlaveMode = TIM_MASTERSLAVEMODE_DISABLE;
  if (HAL_TIMEx_MasterConfigSynchronization(&htim2, &sMasterConfig) != HAL_OK)
  {
    Error_Handler();
  }

}

static void MX_TIM3_Init(void)
{

  TIM_ClockConfigTypeDef sClockSourceConfig = {0};
  TIM_MasterConfigTypeDef sMasterConfig = {0};
  TIM_OC_InitTypeDef sConfigOC = {0};

  htim3.Instance = TIM3;
  htim3.Init.Prescaler = 10;
  htim3.Init.CounterMode = TIM_COUNTERMODE_UP;
  htim3.Init.Period = 1000;
  htim3.Init.ClockDivision = TIM_CLOCKDIVISION_DIV1;
  htim3.Init.AutoReloadPreload = TIM_AUTORELOAD_PRELOAD_ENABLE;
  if (HAL_TIM_Base_Init(&htim3) != HAL_OK)
  {
    Error_Handler();
  }
  sClockSourceConfig.ClockSource = TIM_CLOCKSOURCE_INTERNAL;
  if (HAL_TIM_ConfigClockSource(&htim3, &sClockSourceConfig) != HAL_OK)
  {
    Error_Handler();
  }
  if (HAL_TIM_PWM_Init(&htim3) != HAL_OK)
  {
    Error_Handler();
  }
  sMasterConfig.MasterOutputTrigger = TIM_TRGO_UPDATE;
  sMasterConfig.MasterSlaveMode = TIM_MASTERSLAVEMODE_DISABLE;
  if (HAL_TIMEx_MasterConfigSynchronization(&htim3, &sMasterConfig) != HAL_OK)
  {
    Error_Handler();
  }
  sConfigOC.OCMode = TIM_OCMODE_PWM1;
  sConfigOC.Pulse = 0;
  sConfigOC.OCPolarity = TIM_OCPOLARITY_LOW;
  sConfigOC.OCFastMode = TIM_OCFAST_DISABLE;
  if (HAL_TIM_PWM_ConfigChannel(&htim3, &sConfigOC, TIM_CHANNEL_2) != HAL_OK)
  {
    Error_Handler();
  }
  HAL_TIM_MspPostInit(&htim3);

}

static void MX_TIM4_Init(void)
{

  TIM_Encoder_InitTypeDef sConfig = {0};
  TIM_MasterConfigTypeDef sMasterConfig = {0};

  htim4.Instance = TIM4;
  htim4.Init.Prescaler = 0;
  htim4.Init.CounterMode = TIM_COUNTERMODE_UP;
  htim4.Init.Period = 65535;
  htim4.Init.ClockDivision = TIM_CLOCKDIVISION_DIV1;
  htim4.Init.AutoReloadPreload = TIM_AUTORELOAD_PRELOAD_DISABLE;
  sConfig.EncoderMode = TIM_ENCODERMODE_TI12;
  sConfig.IC1Polarity = TIM_ICPOLARITY_RISING;
  sConfig.IC1Selection = TIM_ICSELECTION_DIRECTTI;
  sConfig.IC1Prescaler = TIM_ICPSC_DIV1;
  sConfig.IC1Filter = 0;
  sConfig.IC2Polarity = TIM_ICPOLARITY_RISING;
  sConfig.IC2Selection = TIM_ICSELECTION_DIRECTTI;
  sConfig.IC2Prescaler = TIM_ICPSC_DIV1;
  sConfig.IC2Filter = 0;
  if (HAL_TIM_Encoder_Init(&htim4, &sConfig) != HAL_OK)
  {
    Error_Handler();
  }
  sMasterConfig.MasterOutputTrigger = TIM_TRGO_RESET;
  sMasterConfig.MasterSlaveMode = TIM_MASTERSLAVEMODE_DISABLE;
  if (HAL_TIMEx_MasterConfigSynchronization(&htim4, &sMasterConfig) != HAL_OK)
  {
    Error_Handler();
  }

}

static void MX_DMA_Init(void)
{

  /* DMA controller clock enable */
  __HAL_RCC_DMA1_CLK_ENABLE();

  /* DMA interrupt init */
  /* DMA1_Channel1_IRQn interrupt configuration */
  HAL_NVIC_SetPriority(DMA1_Channel1_IRQn, 0, 0);
  HAL_NVIC_EnableIRQ(DMA1_Channel1_IRQn);
  /* DMA1_Channel3_IRQn interrupt configuration */
  HAL_NVIC_SetPriority(DMA1_Channel3_IRQn, 0, 0);
  HAL_NVIC_EnableIRQ(DMA1_Channel3_IRQn);

}

static void MX_GPIO_Init(void)
{
  GPIO_InitTypeDef GPIO_InitStruct = {0};

  /* GPIO Ports Clock Enable */
  __HAL_RCC_GPIOC_CLK_ENABLE();
  __HAL_RCC_GPIOD_CLK_ENABLE();
  __HAL_RCC_GPIOA_CLK_ENABLE();
  __HAL_RCC_GPIOB_CLK_ENABLE();

  /*Configure GPIO pin Output Level */
  HAL_GPIO_WritePin(GPIOC, GPIO_PIN_13|GPIO_PIN_14|GPIO_PIN_15, GPIO_PIN_RESET);

  /*Configure GPIO pin Output Level */
  HAL_GPIO_WritePin(GPIOB, GPIO_PIN_0|GPIO_PIN_1|GPIO_PIN_10|GPIO_PIN_11
                          |GPIO_PIN_15, GPIO_PIN_RESET);

  /*Configure GPIO pins : PC13 PC14 PC15 */
  GPIO_InitStruct.Pin = GPIO_PIN_13|GPIO_PIN_14|GPIO_PIN_15;
  GPIO_InitStruct.Mode = GPIO_MODE_OUTPUT_PP;
  GPIO_InitStruct.Pull = GPIO_NOPULL;
  GPIO_InitStruct.Speed = GPIO_SPEED_FREQ_LOW;
  HAL_GPIO_Init(GPIOC, &GPIO_InitStruct);

  /*Configure GPIO pins : PB0 PB1 PB10 PB11
                           PB15 */
  GPIO_InitStruct.Pin = GPIO_PIN_0|GPIO_PIN_1|GPIO_PIN_10|GPIO_PIN_11
                          |GPIO_PIN_15;
  GPIO_InitStruct.Mode = GPIO_MODE_OUTPUT_PP;
  GPIO_InitStruct.Pull = GPIO_NOPULL;
  GPIO_InitStruct.Speed = GPIO_SPEED_FREQ_LOW;
  HAL_GPIO_Init(GPIOB, &GPIO_InitStruct);

  /*Configure GPIO pins : PB12 PB4 PB8 PB9 */
  GPIO_InitStruct.Pin = GPIO_PIN_12|GPIO_PIN_4|GPIO_PIN_8|GPIO_PIN_9;
  GPIO_InitStruct.Mode = GPIO_MODE_INPUT;
  GPIO_InitStruct.Pull = GPIO_PULLUP;
  HAL_GPIO_Init(GPIOB, &GPIO_InitStruct);

  /*Configure GPIO pin : PA10 */
  GPIO_InitStruct.Pin = GPIO_PIN_10;
  GPIO_InitStruct.Mode = GPIO_MODE_INPUT;
  GPIO_InitStruct.Pull = GPIO_PULLUP;
  HAL_GPIO_Init(GPIOA, &GPIO_InitStruct);

}

void Error_Handler(void)
{
}
